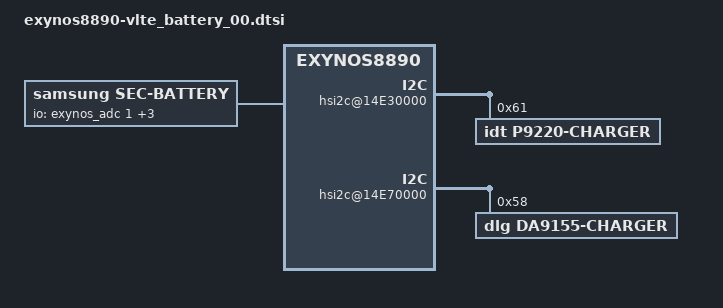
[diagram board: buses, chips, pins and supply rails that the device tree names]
/*
 * SAMSUNG UNIVERSAL5433 board device tree source
 *
 * Copyright (c) 2013 Samsung Electronics Co., Ltd.
 *		http://www.samsung.com
 *
 * This program is free software; you can redistribute it and/or modify
 * it under the terms of the GNU General Public License version 2 as
 * published by the Free Software Foundation.
*/

/ {
	pinctrl@10580000 {
		wpc_int: wpc-int {
			samsung,pins = "gpa3-5";
			samsung,pin-function = <0xf>;
			samsung,pin-pud = <0>;
			samsung,pin-drv = <0>;
		};

		wcin_ok: wcin-ok {
			samsung,pins = "gpa1-4";
			samsung,pin-function = <0xf>;
			samsung,pin-pud = <0>;
			samsung,pin-drv = <0>;
		 };

		wpc_det: wpc-det {
			samsung,pins = "gpa2-0";
			samsung,pin-function = <0xf>;
			samsung,pin-pud = <1>;
		};
	};

	pinctrl@10E60000 {
		wpc_en: wpc-en {
			samsung,pins = "gpi1-2";
			samsung,pin-function = <1>;
			samsung,pin-pud = <0>;
			samsung,pin-drv = <0>;
		};

		ifc_sense_int_ap: ifc-sense-int-ap {
			samsung,pins = "gpi2-4";
			samsung,pin-function = <0>;
			samsung,pin-pud = <1>;
			samsung,pin-drv = <0>;
		};
	};

	hsi2c@14E30000 { /* hsi2c12 */
		status = "okay";

		p9220-charger@61 {
			compatible = "idt,p9220-charger";
			reg = <0x61>;
			status = "okay";

			pinctrl-names = "default";
			pinctrl-0 = <&wpc_int &wpc_det &wcin_ok &wpc_en>;

			battery,wpc_int = <&gpa3 5 0>;
			battery,wpc_det = <&gpa2 0 0>;

			battery,charger_name = "max77854-charger";
			battery,wireless_charger_name = "p9220-charger";
			battery,fod_data = <204 12 150 30 130 57 130 57 157 8 157 9>;
			battery,fod_data_cv = <204 42 150 60 130 87 130 87 157 38 157 39>;
			battery,wpc_cc_cv_vout = <5500>;
			battery,wpc_cv_call_vout = <5000>;
			battery,wpc_cc_call_vout = <5000>;
		};
	};

	battery {
		status = "okay";
		compatible = "samsung,sec-battery";

		pinctrl-names = "default";
		pinctrl-0 = <&ifc_sense_int_ap>;
		/* battery,irq_gpio = <&gpa1 6 0>; */

		battery,vendor = "SDI SDI";
		battery,charger_name = "max77854-charger";
		battery,fuelgauge_name = "max77854-fuelgauge";
		battery,wireless_charger_name = "p9220-charger";
		battery,technology = <2>; /* POWER_SUPPLY_TECHNOLOGY_LION */
		battery,fgsrc_switch_name = "max77854-charger"; /* Fuelgauge voltage source */

		battery,batt_data_version = <2>;

		battery,chip_vendor = "LSI";
		battery,temp_adc_type = <1>; /* SEC_BATTERY_ADC_TYPE_AP */

		battery,chg_thermal_source = <1>;
		battery,chg_temp_check = <1>;
		battery,slave_chg_temp_check = <0>;
		battery,wpc_thermal_source = <1>;
		battery,wpc_temp_check = <1>;
		battery,wpc_en = <&gpi1 2 0>;

		battery,polling_time = <10 30 30 30 3600>;

		battery,temp_table_adc = <261 307 398 467 547 642 754 828 879 934 1030 1127 1194 1265 1370 1484 1573 1657
						1787 1922 2016 2253 2482 2706 2927 3007 3123 3228 3297 3361 3445 3585 3710>;
		battery,temp_table_data = <900 850 800 750 700 650 600 570 550 530 500 470 450 430 400 370 350 330
						300 270 250 200 150 100 50 30 0 (-30) (-50) (-70) (-100) (-150) (-200)>;

		battery,chg_temp_table_adc = <368 433 509 600 708 779 829 879 972 1067 1132 1200 1301 1412 1501
						1583 1710 1843 1937 2175 2408 2634 2856 2944 3066 3176 3249 3316 3407 3547 3672>;
		battery,chg_temp_table_data = <800 750 700 650 600 570 550 530 500 470 450 430 400 370 350
						330 300 270 250 200 150 100 50 30 0 (-30) (-50) (-70) (-100) (-150) (-200)>;

		battery,wpc_temp_table_adc = <368 433 509 601 708 779 829 880 972 1067 1132 1200 1301 1412 1501
						1583 1710 1842 1937 2174 2407 2632 2855 2942 3060 3170 3244 3309 3401 3541 3666>;
		battery,wpc_temp_table_data = <800 750 700 650 600 570 550 530 500 470 450 430 400 370 350
						330 300 270 250 200 150 100 50 30 0 (-30) (-50) (-70) (-100) (-150) (-200)>;

		battery,input_current_limit = <1800 450 450 1800 500 900 1000 460 1000 450 900 900 900 1900 1800 450 450 400 700 1300 300 1000 1500 450 1675 1800 1000 1675 80 1800 1675 1400 1000 1000 600 900 900 900>;
		battery,fast_charging_current = <2100 450 450 2100 800 1200 1000 460 1200 450 2100 2100 2100 1600 2100 450 450 400 700 1300 300 1000 1500 450 2800 2800 1000 2800 80 1800 1000 1400 450 1000 2100 2100 2100 2100>;
		battery,full_check_current_1st = <350 0 0 350 350 350 350 350 350 0 350 350 350 350 350 0 0 350 350 350 350 350 350 0 350 350 350 350 0 350 350 350 0 350 350 350 350 350>;
		battery,full_check_current_2nd = <150 0 0 150 150 150 150 150 150 0 150 150 150 150 150 0 0 150 150 150 150 150 150 0 150 150 150 150 0 150 150 150 0 150 150 150 150 150>;

		battery,wireless_cc_cv = <85>;
		battery,inbat_voltage = <1>;
		battery,inbat_voltage_table_adc = <3120 3101 3061 3038 3001 2956 2920 2887 2856 2814
						2793 2754 2720 2677 2641 2613 2572 2531 2502 2467 2436>;
		battery,inbat_voltage_table_data = <438 435 430 425 420 415 410 405 400 395
						390 385 380 375 370 365 360 355 350 345 340>;

		battery,adc_check_count = <5>;

		battery,cable_check_type = <4>; /* SEC_BATTERY_CABLE_CHECK_PSY */
		battery,cable_source_type = <1>; /* SEC_BATTERY_CABLE_SOURCE_EXTERNAL */
		battery,polling_type = <1>; /* SEC_BATTERY_MONITOR_ALARM */
		battery,monitor_initial_count = <0>;

		battery,battery_check_type = <0>; /* SEC_BATTERY_CHECK_NONE */
		battery,check_count = <0>;
		battery,check_adc_max = <1440>;
		battery,check_adc_min = <0>;

		battery,ovp_uvlo_check_type = <3>; /* SEC_BATTERY_OVP_UVLO_CHGPOLLING */

		battery,thermal_source = <2>; /* SEC_BATTERY_THERMAL_SOURCE_ADC */

		battery,temp_check_type = <2>; /* SEC_BATTERY_TEMP_CHECK_TEMP */
		battery,temp_check_count = <1>;
		battery,temp_highlimit_threshold_event = <800>;
		battery,temp_highlimit_recovery_event = <750>;
		battery,temp_high_threshold_event = <550>;
		battery,temp_high_recovery_event = <500>;
		battery,temp_low_threshold_event = <(-50)>;
		battery,temp_low_recovery_event = <0>;
		battery,temp_highlimit_threshold_normal = <800>;
		battery,temp_highlimit_recovery_normal = <750>;
		battery,temp_high_threshold_normal = <550>;
		battery,temp_high_recovery_normal = <500>;
		battery,temp_low_threshold_normal = <(-50)>;
		battery,temp_low_recovery_normal = <0>;
		battery,temp_highlimit_threshold_lpm = <800>;
		battery,temp_highlimit_recovery_lpm = <750>;
		battery,temp_high_threshold_lpm = <550>;
		battery,temp_high_recovery_lpm = <500>;
		battery,temp_low_threshold_lpm = <(-50)>;
		battery,temp_low_recovery_lpm = <0>;
		battery,full_check_type = <7>; /* SEC_BATTERY_FULLCHARGED_CHGPSY */
		battery,full_check_type_2nd = <7>; /* SEC_BATTERY_FULLCHARGED_CHGPSY */
		battery,full_check_count = <1>;
		battery,chg_gpio_full_check = <0>;
		battery,chg_polarity_full_check = <1>;

		battery,chg_high_temp_1st = <500>;
		battery,chg_high_temp_2nd = <500>;
		battery,chg_high_temp_recovery = <495>;
		battery,chg_charging_limit_current = <1100>;
		battery,chg_charging_limit_current_2nd = <1100>;
		battery,chg_skip_check_capacity = <10>;
		battery,chg_skip_check_time = <600>;

		battery,wpc_high_temp = <430>;
		battery,wpc_high_temp_recovery = <429>;
		battery,wpc_heat_temp_recovery = <360>;
		battery,wpc_lcd_on_high_temp = <410>;
		battery,wpc_lcd_on_high_temp_rec = <300>;
		battery,wpc_hv_lcd_on_input_limit_current = <400>;
		battery,wpc_charging_limit_current = <600>;
		battery,wpc_skip_check_capacity = <5>;
		battery,wpc_skip_check_time = <600>;

		battery,sleep_mode_limit_current = <500>;
		battery,wc_full_input_limit_current = <100>;
		battery,wc_heating_input_limit_current = <400>;
		battery,wc_heating_time = <300>; /* 5min */
		battery,wc_cv_current = <820>;

		/* SEC_BATTERY_FULL_CONDITION_SOC |
		   SEC_BATTERY_FULL_CONDITION_NOTIMEFULL |
		   SEC_BATTERY_FULL_CONDITION_VCELL */
		battery,full_condition_type = <13>;
		battery,full_condition_soc = <93>;
		battery,full_condition_vcell = <4275>;

		battery,recharge_check_count = <2>;
		battery,recharge_condition_type = <4>; /* SEC_BATTERY_RECHARGE_CONDITION_VCELL */
		battery,recharge_condition_soc = <98>;
		battery,recharge_condition_vcell = <4312>;

		battery,charging_total_time = <21600>;
		battery,recharging_total_time = <5400>;
		battery,charging_reset_time = <0>;

		battery,chg_float_voltage = <43625>;

		battery,swelling_high_temp_block = <450>;
		battery,swelling_high_temp_recov = <400>;
		battery,swelling_low_temp_block = <100>;
		battery,swelling_low_temp_recov = <150>;

		battery,swelling_low_temp_current = <1800>;	/* 0.5C */
		battery,swelling_low_temp_topoff = <200>;	/* 0.05C */
		battery,swelling_high_temp_current = <2500>;	/* 0.7C */
		battery,swelling_high_temp_topoff = <200>;	/* 0.05C */

		battery,swelling_drop_float_voltage = <42000>;
		battery,swelling_high_rechg_voltage = <4150>;
		battery,swelling_low_rechg_voltage = <4050>;

		battery,self_discharging_temp_block = <600>;
		battery,self_discharging_volt_block = <4250>;
		battery,self_discharging_temp_recov = <550>;
		battery,self_discharging_temp_pollingtime = <400>;

		battery,siop_event_check_type = <1>;
		battery,siop_call_cv_current = <330>;
		battery,siop_call_cc_current = <330>;

		battery,siop_input_limit_current = <1200>;
		battery,siop_charging_limit_current = <1000>;
		battery,siop_hv_input_limit_current = <700>;
		battery,siop_hv_charging_limit_current = <1000>;

		battery,siop_wireless_input_limit_current = <600>;
		battery,siop_wireless_charging_limit_current = <1000>;
		battery,siop_hv_wireless_input_limit_current = <600>;
		battery,siop_hv_wireless_charging_limit_current = <1000>;

		battery,ttf_hv_charge_current = <2500>;
		battery,ttf_hv_wireless_charge_current = <1500>;

		/* cycle, chg_float_voltage, recharge_condition_vcell, full_condition_vcell, full_condition_soc */
		battery,age_data = <0 43625 4312 4275 93
				300 43250 4275 4210 89
				500 42875 4237 4170 85>;

		io-channels = <&exynos_adc 1>, <&exynos_adc 3>, <&exynos_adc 6>, <&exynos_adc 3>;
		io-channel-names = "adc-temp", "adc-chg-temp", "adc-in-bat", "adc-wpc-temp";
		#io-channel-cells = <3>;
		io-channel-ranges;
	};

	hsi2c@14E70000 { /* hsi2c3 */
		status = "okay";

		da9155-charger@58 {
			compatible = "dlg,da9155-charger";
			reg = <0x58>;
			status = "okay";
		};
	};

	sec-multi-charger {
		status = "okay";
		compatible = "samsung,sec-multi-charger";

		charger,battery_name = "battery";
		charger,main_charger = "max77854-charger";
		charger,sub_charger = "da9155-charger";

		charger,is_serial;

		charger,sub_charger_condition = <0x13>;
		charger,sub_charger_condition_current_max = <1200>;
		charger,sub_charger_condition_current_now = <500>;
		charger,sub_charger_condition_online = <3 24 26>;

		charger,main_charger_temp_threshold = <1000>;
		charger,main_charger_temp_step = <5>;
		charger,main_charger_temp_drop_level = <2>;

		charger,sub_charger_temp_threshold = <1000>;
		charger,sub_charger_temp_step = <5>;
		charger,sub_charger_temp_drop_level = <2>;

		charger,main_charger_current_level = <100>;
		charger,sub_charger_current_level = <100>;
	};

	max77854-fuelgauge {
		status = "disable";

		fuelgauge,fuel_alert_soc = <1>;
		fuelgauge,jig_gpio = <&gpi2 4 0>;
		fuelgauge,capacity_max = <1000>;
		fuelgauge,capacity_max_margin = <200>;
		fuelgauge,capacity_min = <0>;
		fuelgauge,capacity_calculation_type = <28>;
		fuelgauge,repeated_fuelalert;
		fuelgauge,using_temp_compensation;
		fuelgauge,low_temp_limit = <100>;
		fuelgauge,low_temp_recovery = <120>;
		fuelgauge,using_hw_vempty;
		fuelgauge,v_empty = <0xA561>; /* Empty: 3260mV, Recover: 3480mV */
		fuelgauge,v_empty_origin = <0x7D54>; /* Empty: 2500mV, Recover: 3360mV */
		fuelgauge,qrtable20 = <0x0B00>;
		fuelgauge,qrtable30 = <0x0A00>;
		fuelgauge,fg_resistor = <1>;
		fuelgauge,rcomp0 = <0x40>;
		fuelgauge,rcomp_charging = <0x40>;
		fuelgauge,is_using_model_data;
		fuelgauge,type_str = "SDI";
		fuelgauge,capacity = <0x0716>;
		/*fuelgauge,auto_discharge_en;*/
		fuelgauge,discharge_temp_threshold = <600>;
		fuelgauge,discharge_volt_threshold = <4540>;
		fuelgauge,cv_data = <2493  832  1437
			2354  840  1405
			2225  846  1373
			2202  848  1367
			2179  849  1360
			2162  850  1355
			2150  851  1351
			2064  855  1327
			1973  860  1301
			1960  861  1297
			1908  864  1281
			1813  869  1249
			1727  874  1219
			1635  879  1186
			1605  881  1175
			1575  883  1163
			1563  883  1158
			1482  888  1126
			1441  890  1109
			1388  893  1086
			1365  895  1075
			1351  895  1068
			1289  899  1040
			1267  900  1030
			1242  902  1017
			1227  903  1009
			1200  904  994 
			1138  908  963 
			1087  912  933 
			1085  912  931 
			1074  913  925 
			1018  916  891 
			988   917  874 
			957   920  852 
			939   920  840 
			924   922  828 
			871   924  796 
			834   927  764 
			818   928  752 
			807   928  744 
			800   929  738 
			795   929  733 
			778   930  718 
			771   931  710 
			739   933  683 
			730   933  675 
			721   934  669 
			715   934  661 
			714   934  660 
			699   935  645 
			695   936  641 
			679   936  628 
			672   937  622 
			650   938  596 
			625   940  566 
			613   941  556 
			606   941  545 
			594   942  533 
			591   943  531 
			585   944  523 
			581   945  518 
			576   946  514 
			569   947  505 
			567   948  503 
			565   948  499 
			564   948  495 
			559   949  487 
			535   954  456 
			532   955  453 
			523   956  441 
			515   958  430 
			506   960  418 
			486   964  387 
			469   967  362 
			468   967  359 
			462   968  349 
			454   970  334 
			435   973  302 
			434   974  300 
			428   975  291 
			422   976  280 
			407   979  248 
			406   979  247 
			404   979  244 
			389   982  218 
			386   983  213 
			375   985  188 
			368   986  175 
			355   989  143 
			338   992  111 
			337   993  103 
			331   994  88  
			319   996  56  
			310   998  39  
			307   998  32  
			0   1000 0>;
	};
};
